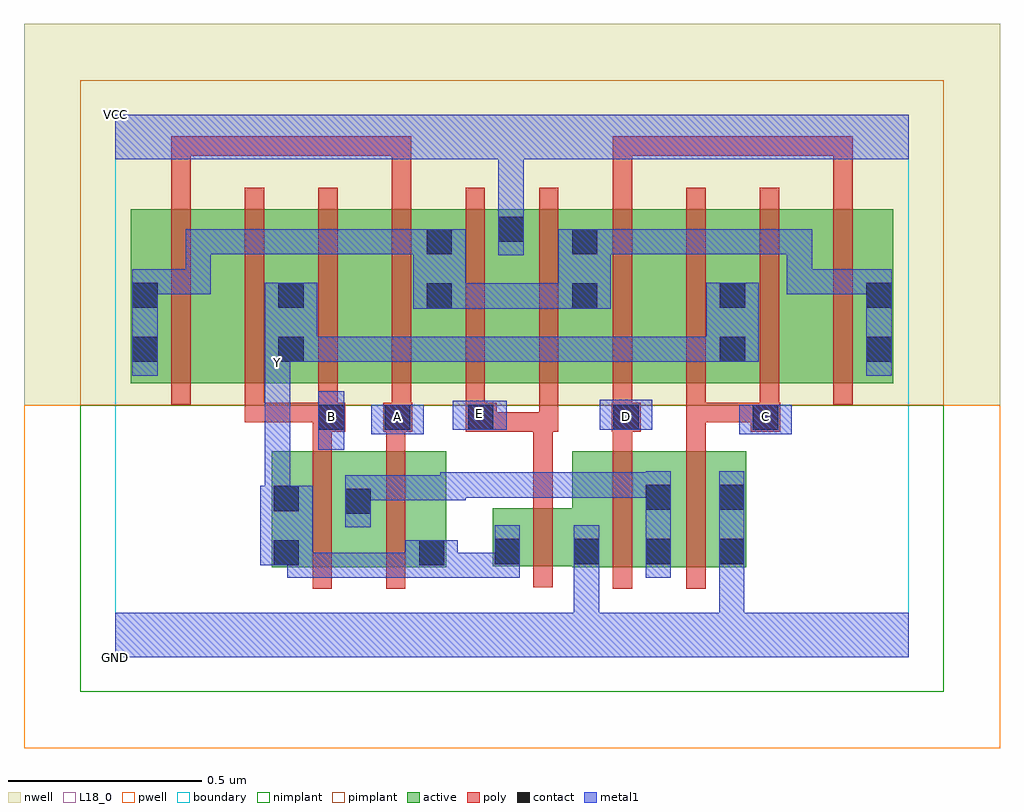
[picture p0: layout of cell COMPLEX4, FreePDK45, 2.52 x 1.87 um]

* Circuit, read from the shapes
.subckt COMPLEX4 A B C D E GND VCC Y
M1 n1 B Y VSUBS nfet w=0.3u l=0.05u
M2 Y A n1 VSUBS nfet w=0.3u l=0.05u
M3 GND E Y VSUBS nfet w=0.15u l=0.05u
M4 n1 D GND VSUBS nfet w=0.3u l=0.05u
M5 GND C n1 VSUBS nfet w=0.3u l=0.05u
M6 n2 A n3 n4 pfet w=0.45u l=0.05u
M7 Y B n2 n4 pfet w=0.45u l=0.05u
M8 n5 B Y n4 pfet w=0.45u l=0.05u
M9 n3 A n5 n4 pfet w=0.45u l=0.05u
M10 VCC E n3 n4 pfet w=0.45u l=0.05u m=2
M11 n6 D n3 n4 pfet w=0.45u l=0.05u
M12 Y C n6 n4 pfet w=0.45u l=0.05u
M13 n7 C Y n4 pfet w=0.45u l=0.05u
M14 n3 D n7 n4 pfet w=0.45u l=0.05u
.ends

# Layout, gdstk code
import gdstk
lib = gdstk.Library(unit=1e-6, precision=1e-09)
def R(c, l, rs):  # rectangles x0, y0, x1, y1
    for r in rs: c.add(gdstk.rectangle(r[:2], r[2:], *l))
def A(c, l, x, y, w, h, nx, ny, dx, dy):  # array of equal rectangles
    R(c, l, [(x+i*dx, y+j*dy, x+i*dx+w, y+j*dy+h) for i in range(nx) for j in range(ny)])
active = (1, 0)
pwell = (2, 0)
nwell = (3, 0)
nimplant = (4, 0)
pimplant = (5, 0)
poly = (9, 0)
contact = (10, 0)
metal1 = (11, 0)
L18_0 = (18, 0)
boundary = (235, 0)

complex4 = lib.new_cell('COMPLEX4')
R(complex4, active, [(0.405,0.232,0.665,0.532), (0.405,0.232,0.48,0.532), (0.59,0.232,0.855,0.532), (0.78,0.232,0.855,0.532), (1.18,0.232,1.44,0.532), (1.18,0.232,1.255,0.385), (1.365,0.232,1.63,0.532), (0.975,0.235,1.255,0.385), (0.975,0.235,1.05,0.385), (1.365,0.235,1.44,0.45), (1.555,0.235,1.63,0.532), (0.59,0.295,0.665,0.44), (0.04,0.707,0.115,1.155), (0.04,0.707,0.265,1.157), (0.265,0.707,0.492,1.157), (0.417,0.707,0.645,1.157), (0.417,0.707,0.492,1.07), (0.645,0.707,0.875,1.157), (0.8,0.707,1.06,1.157), (0.985,0.707,1.25,1.157), (1.175,0.707,1.25,1.155), (1.175,0.707,1.405,1.157), (1.405,0.707,1.632,1.157), (1.557,0.707,1.785,1.157), (1.557,0.707,1.632,1.07), (1.785,0.707,2.01,1.157), (1.935,0.707,2.01,1.155), (0.8,0.812,0.875,1.155), (0.985,0.852,1.06,1.157)])
R(complex4, pwell, [(-0.235,-0.235,2.285,0.65)])
R(complex4, nwell, [(-0.235,0.65,2.285,1.635)])
R(complex4, nimplant, [(-0.09,-0.09,2.14,0.65)])
R(complex4, pimplant, [(-0.09,0.65,2.14,1.49)])
A(complex4, poly, 0.335, 0.607, 0.05, 0.095, 4, 1, 0.19, 0)
A(complex4, poly, 1.285, 0.607, 0.05, 0.095, 3, 1, 0.19, 0)
A(complex4, poly, 0.145, 0.652, 0.05, 0.56, 10, 1, 0.19, 0)
A(complex4, poly, 0.145, 1.162, 0.05, 0.183, 4, 1, 0.57, 0)
R(complex4, poly, [(0.51,0.177,0.56,0.587), (0.7,0.177,0.75,0.587), (1.285,0.177,1.335,0.587), (1.475,0.177,1.525,0.587), (1.08,0.18,1.13,0.44), (1.08,0.39,1.13,0.632), (0.51,0.537,0.56,0.632), (0.7,0.537,0.75,0.632), (1.285,0.537,1.335,0.632), (1.475,0.537,1.525,0.657), (0.51,0.582,0.595,0.657), (0.692,0.582,0.767,0.657), (0.905,0.582,0.985,0.657), (0.935,0.582,0.985,0.632), (0.935,0.582,0.985,0.632), (0.935,0.582,1.13,0.632), (1.08,0.582,1.145,0.632), (1.095,0.582,1.145,0.702), (1.282,0.582,1.357,0.657), (1.642,0.582,1.717,0.657), (0.335,0.607,0.385,0.657), (0.335,0.607,0.385,0.657), (0.335,0.607,0.385,0.657), (0.335,0.607,0.56,0.657), (1.475,0.607,1.525,0.657), (1.475,0.607,1.525,0.657), (1.475,0.607,1.525,0.657), (1.475,0.607,1.692,0.657), (0.145,1.295,0.195,1.345), (0.145,1.295,0.195,1.345), (0.145,1.295,0.195,1.345), (0.145,1.295,0.427,1.345), (0.377,1.295,0.427,1.345), (0.377,1.295,0.427,1.345), (0.377,1.295,0.427,1.345), (0.377,1.295,0.61,1.345), (0.56,1.295,0.61,1.345), (0.56,1.295,0.61,1.345), (0.56,1.295,0.61,1.345), (0.56,1.295,0.765,1.345), (0.715,1.295,0.765,1.345), (1.285,1.295,1.335,1.345), (1.285,1.295,1.335,1.345), (1.285,1.295,1.335,1.345), (1.285,1.295,1.56,1.345), (1.51,1.295,1.56,1.345), (1.51,1.295,1.56,1.345), (1.51,1.295,1.56,1.345), (1.51,1.295,1.732,1.345), (1.682,1.295,1.905,1.345), (1.682,1.295,1.732,1.345), (1.682,1.295,1.732,1.345), (1.682,1.295,1.732,1.345), (1.855,1.295,1.905,1.345)])
R(complex4, contact, [(0.41,0.237,0.475,0.302), (0.785,0.237,0.85,0.302), (0.98,0.24,1.045,0.305), (1.185,0.24,1.25,0.305), (1.37,0.24,1.435,0.305), (1.56,0.24,1.625,0.305), (0.595,0.37,0.66,0.435), (0.41,0.377,0.475,0.442), (1.37,0.38,1.435,0.445), (1.56,0.38,1.625,0.445), (0.525,0.587,0.59,0.652), (0.697,0.587,0.762,0.652), (0.912,0.587,0.977,0.652), (1.287,0.587,1.352,0.652), (1.647,0.587,1.712,0.652), (0.045,0.762,0.11,0.827), (0.422,0.762,0.487,0.827), (1.562,0.762,1.627,0.827), (1.94,0.762,2.005,0.827), (0.805,0.9,0.87,0.965), (1.18,0.9,1.245,0.965), (0.045,0.902,0.11,0.967), (0.422,0.902,0.487,0.967), (1.562,0.902,1.627,0.967), (1.94,0.902,2.005,0.967), (0.805,1.04,0.87,1.105), (1.18,1.04,1.245,1.105), (0.99,1.072,1.055,1.137)])
A(complex4, metal1, 0.84, 0.762, 0.202, 0.065, 3, 1, 0.275, 0)
R(complex4, metal1, [(0,0,2.05,0.115), (1.185,0.05,1.25,0.27), (1.56,0.05,1.625,0.115), (1.56,0.05,1.625,0.115), (1.56,0.05,1.625,0.115), (1.56,0.05,1.625,0.115), (1.56,0.05,1.625,0.27), (0.445,0.205,0.51,0.27), (0.445,0.205,0.51,0.27), (0.445,0.205,0.51,0.27), (0.445,0.205,0.66,0.27), (0.445,0.205,0.51,0.302), (0.595,0.205,0.66,0.27), (0.595,0.205,0.767,0.27), (0.702,0.205,0.767,0.27), (0.702,0.205,0.815,0.27), (0.75,0.205,0.885,0.302), (0.82,0.205,0.905,0.27), (0.84,0.205,0.905,0.27), (0.84,0.205,1.045,0.27), (0.98,0.205,1.045,0.34), (1.185,0.205,1.25,0.27), (1.185,0.205,1.25,0.27), (1.185,0.205,1.25,0.27), (1.185,0.205,1.25,0.27), (1.185,0.205,1.25,0.34), (1.37,0.205,1.435,0.48), (1.56,0.205,1.625,0.48), (0.375,0.237,0.51,0.442), (0.595,0.335,0.66,0.47), (0.387,0.377,0.452,0.757), (0.595,0.405,0.73,0.47), (0.665,0.405,0.73,0.47), (0.665,0.405,0.797,0.47), (0.732,0.405,0.797,0.47), (0.732,0.405,0.905,0.47), (0.84,0.405,0.905,0.477), (0.84,0.412,1.042,0.477), (0.977,0.412,1.042,0.477), (0.977,0.412,1.18,0.477), (1.115,0.412,1.18,0.477), (1.115,0.412,1.18,0.477), (1.115,0.412,1.18,0.477), (1.115,0.412,1.317,0.477), (1.252,0.412,1.317,0.477), (1.252,0.412,1.435,0.477), (0.525,0.535,0.592,0.687), (0.662,0.575,0.797,0.652), (1.612,0.575,1.747,0.652), (0.872,0.587,1.012,0.662), (1.252,0.587,1.387,0.665), (0.387,0.692,0.452,0.827), (0.045,0.727,0.11,1.002), (1.94,0.727,2.005,1.002), (0.387,0.762,0.452,0.827), (0.387,0.762,0.522,0.967), (0.457,0.762,0.522,0.827), (0.457,0.762,0.522,0.827), (0.457,0.762,0.66,0.827), (0.595,0.762,0.66,0.827), (0.595,0.762,0.66,0.827), (0.595,0.762,0.66,0.827), (0.595,0.762,0.905,0.827), (0.84,0.762,0.905,0.827), (0.84,0.762,0.905,0.827), (0.84,0.762,0.905,0.827), (0.977,0.762,1.042,0.827), (0.977,0.762,1.18,0.827), (1.115,0.762,1.18,0.827), (1.115,0.762,1.18,0.827), (1.115,0.762,1.18,0.827), (1.252,0.762,1.317,0.827), (1.252,0.762,1.455,0.827), (1.39,0.762,1.455,0.827), (1.39,0.762,1.455,0.827), (1.39,0.762,1.455,0.827), (1.527,0.762,1.662,0.967), (0.77,0.9,0.905,1.105), (0.84,0.9,0.905,0.965), (0.84,0.9,0.905,0.965), (0.84,0.9,1.042,0.965), (0.977,0.9,1.042,0.965), (0.977,0.9,1.042,0.965), (0.977,0.9,1.042,0.965), (0.977,0.9,1.21,0.965), (1.145,0.9,1.28,1.105), (0.045,0.937,0.11,1.002), (0.045,0.937,0.11,1.002), (0.045,0.937,0.247,1.002), (0.182,0.937,0.247,1.002), (0.182,0.937,0.247,1.105), (1.735,0.937,1.8,1.002), (1.735,0.937,2.005,1.002), (1.735,0.937,1.8,1.105), (1.94,0.937,2.005,1.002), (1.94,0.937,2.005,1.002), (0.99,1.037,1.055,1.172), (0.182,1.04,0.247,1.105), (0.182,1.04,0.247,1.105), (0.182,1.04,0.247,1.105), (0.182,1.04,0.412,1.105), (0.347,1.04,0.412,1.105), (0.347,1.04,0.412,1.105), (0.347,1.04,0.412,1.105), (0.347,1.04,0.66,1.105), (0.595,1.04,0.66,1.105), (0.595,1.04,0.66,1.105), (0.595,1.04,0.66,1.105), (0.595,1.04,0.835,1.105), (1.215,1.04,1.317,1.105), (1.252,1.04,1.317,1.105), (1.252,1.04,1.455,1.105), (1.39,1.04,1.455,1.105), (1.39,1.04,1.455,1.105), (1.39,1.04,1.455,1.105), (1.39,1.04,1.662,1.105), (1.597,1.04,1.662,1.105), (1.597,1.04,1.662,1.105), (1.597,1.04,1.662,1.105), (1.597,1.04,1.8,1.105), (1.735,1.04,1.8,1.105), (0.99,1.107,1.055,1.172), (0.99,1.107,1.055,1.172), (0.99,1.107,1.055,1.35), (0,1.285,2.05,1.4)])
A(complex4, L18_0, 0.84, 0.762, 0.202, 0.065, 3, 1, 0.275, 0)
R(complex4, L18_0, [(0,0,2.05,0.115), (1.185,0.05,1.25,0.27), (1.56,0.05,1.625,0.115), (1.56,0.05,1.625,0.115), (1.56,0.05,1.625,0.115), (1.56,0.05,1.625,0.115), (1.56,0.05,1.625,0.27), (0.445,0.205,0.51,0.27), (0.445,0.205,0.51,0.27), (0.445,0.205,0.51,0.27), (0.445,0.205,0.51,0.302), (0.445,0.205,0.66,0.27), (0.595,0.205,0.66,0.27), (0.595,0.205,0.767,0.27), (0.702,0.205,0.767,0.27), (0.702,0.205,0.815,0.27), (0.75,0.205,0.885,0.302), (0.82,0.205,0.905,0.27), (0.84,0.205,0.905,0.27), (0.84,0.205,1.045,0.27), (0.98,0.205,1.045,0.34), (1.185,0.205,1.25,0.27), (1.185,0.205,1.25,0.27), (1.185,0.205,1.25,0.27), (1.185,0.205,1.25,0.27), (1.185,0.205,1.25,0.34), (1.56,0.205,1.625,0.48), (0.375,0.237,0.51,0.442), (0.387,0.377,0.452,0.757), (0.525,0.535,0.592,0.687), (0.662,0.575,0.797,0.652), (1.612,0.575,1.747,0.652), (0.527,0.587,0.592,0.652), (0.697,0.587,0.762,0.652), (0.872,0.587,1.012,0.662), (1.252,0.587,1.387,0.665), (1.287,0.587,1.352,0.652), (1.647,0.587,1.712,0.652), (0.907,0.597,0.972,0.662), (0.387,0.692,0.452,0.827), (0.387,0.727,0.452,0.792), (0.387,0.762,0.452,0.827), (0.387,0.762,0.522,0.967), (0.457,0.762,0.522,0.827), (0.457,0.762,0.522,0.827), (0.457,0.762,0.66,0.827), (0.595,0.762,0.66,0.827), (0.595,0.762,0.66,0.827), (0.595,0.762,0.66,0.827), (0.595,0.762,0.905,0.827), (0.84,0.762,0.905,0.827), (0.84,0.762,0.905,0.827), (0.84,0.762,0.905,0.827), (0.977,0.762,1.042,0.827), (0.977,0.762,1.18,0.827), (1.115,0.762,1.18,0.827), (1.115,0.762,1.18,0.827), (1.115,0.762,1.18,0.827), (1.252,0.762,1.317,0.827), (1.252,0.762,1.455,0.827), (1.39,0.762,1.455,0.827), (1.39,0.762,1.455,0.827), (1.39,0.762,1.455,0.827), (1.527,0.762,1.662,0.967), (0.99,1.037,1.055,1.172), (0.99,1.107,1.055,1.172), (0.99,1.107,1.055,1.172), (0.99,1.107,1.055,1.35), (0,1.285,2.05,1.4)])
R(complex4, boundary, [(0,0,2.05,1.4)])
complex4.add(gdstk.Label('A', (0.73,0.62), layer=11, texttype=0))
complex4.add(gdstk.Label('B', (0.56,0.62), layer=11, texttype=0))
complex4.add(gdstk.Label('C', (1.68,0.62), layer=11, texttype=0))
complex4.add(gdstk.Label('D', (1.32,0.62), layer=11, texttype=0))
complex4.add(gdstk.Label('E', (0.94,0.63), layer=11, texttype=0))
complex4.add(gdstk.Label('Y', (0.42,0.76), layer=11, texttype=0))
complex4.add(gdstk.Label('VCC', (0,1.4), layer=11, texttype=0))
complex4.add(gdstk.Label('GND', (0,0), layer=11, texttype=0))

lib.write_gds('COMPLEX4.gds')
